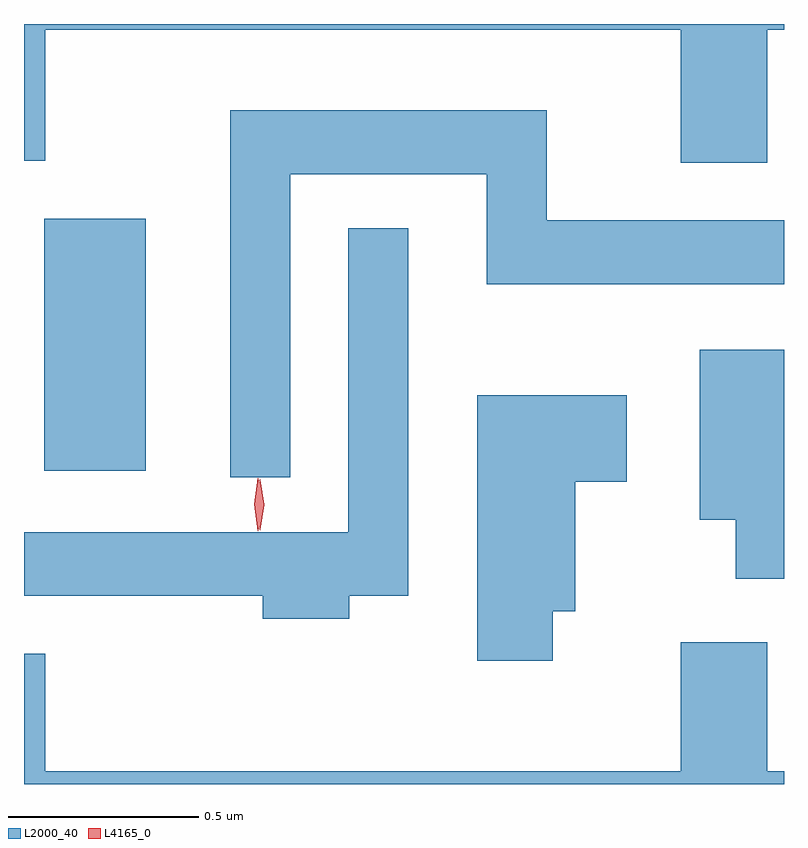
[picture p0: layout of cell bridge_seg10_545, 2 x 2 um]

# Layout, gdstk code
import gdstk
lib = gdstk.Library(unit=1e-6, precision=1e-09)
def R(c, l, rs):  # rectangles x0, y0, x1, y1
    for r in rs: c.add(gdstk.rectangle(r[:2], r[2:], *l))
def P(c, l, *ps):  # polygons
    for p in ps: c.add(gdstk.Polygon(p, *l))
L2000_40 = (2000, 40)
L4165_0 = (4165, 0)

bridge_seg10_545 = lib.new_cell('bridge_seg10_545')
R(bridge_seg10_545, L2000_40, [(769.896,2170.476,770.164,2171.139)])
P(bridge_seg10_545, L2000_40, [(771.799,2171.636),(771.843,2171.636),(771.843,2171.651),(769.843,2171.651),(769.843,2171.291),(769.899,2171.291),(769.899,2171.636),(771.571,2171.636),(771.571,2171.286),(771.799,2171.286)],
  [(770.544,2171.256),(771.061,2171.256),(771.061,2170.966),(771.843,2170.966),(771.843,2171.134),(771.219,2171.134),(771.219,2171.424),(770.386,2171.424),(770.386,2170.458),(770.544,2170.458)],
  [(770.699,2170.146),(770.854,2170.146),(770.854,2171.113),(770.696,2171.113),(770.696,2170.314),(769.843,2170.314),(769.843,2170.146),(770.471,2170.146),(770.471,2170.086),(770.699,2170.086)],
  [(771.843,2170.794),(771.621,2170.794),(771.621,2170.346),(771.716,2170.346),(771.716,2170.191),(771.843,2170.191)],
  [(771.234,2170.106),(771.294,2170.106),(771.294,2170.446),(771.429,2170.446),(771.429,2170.674),(771.036,2170.674),(771.036,2169.976),(771.234,2169.976)],
  [(771.843,2169.684),(771.799,2169.684),(771.799,2170.024),(771.571,2170.024),(771.571,2169.684),(769.899,2169.684),(769.899,2169.994),(769.843,2169.994),(769.843,2169.651),(771.843,2169.651)])
P(bridge_seg10_545, L4165_0, [(770.458,2170.317),(770.458,2170.318),(770.449,2170.387),(770.458,2170.456),(770.459,2170.456),(770.46,2170.456),(770.468,2170.387),(770.459,2170.318)],
  [(770.465,2170.319),(770.464,2170.32),(770.455,2170.386),(770.464,2170.452),(770.465,2170.453),(770.465,2170.452),(770.475,2170.386),(770.465,2170.32)])

lib.write_gds('bridge_seg10_545.gds')
